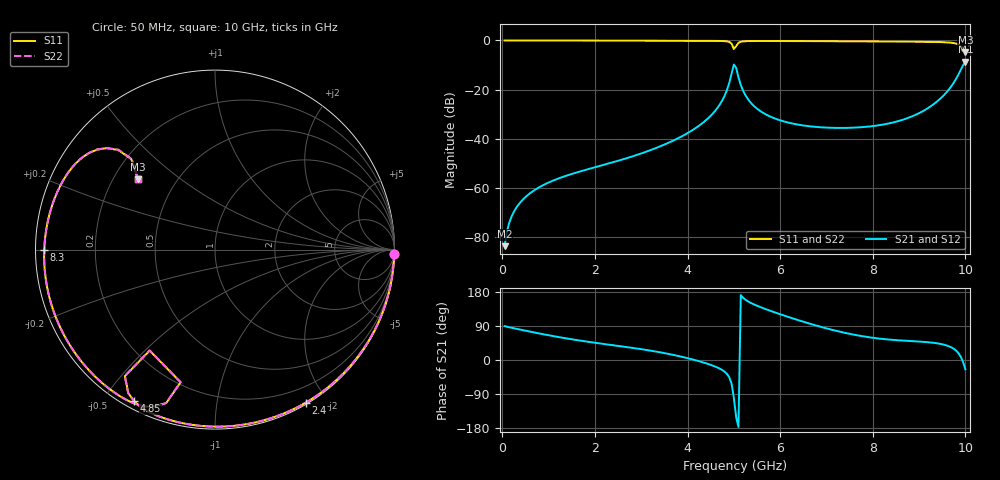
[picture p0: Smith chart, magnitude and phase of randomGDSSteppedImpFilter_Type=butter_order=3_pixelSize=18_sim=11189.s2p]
! freq	dB(S11)	phase(S11)	dB(S12)	phase(S12)
!  dB(S21)	phase(S21)	dB(S22)	phase(S22)
!S-par simulation data
#  GHz  S  DB  R 50
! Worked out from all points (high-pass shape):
!   200 points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, 50 MHz to 10 GHz, reference 50 ohm
!   highest |S21| = -8.59 dB at 10 GHz (marker M1); lowest = -83.6 dB at 50 MHz (marker M2)
!   |S21| within 3 dB of the highest: 4.976 GHz to 5.056 GHz (79.38 MHz wide, 1.58 % of centre); 9.91 GHz to end of sweep
!   lowest |S11| = -4.7 dB at 10 GHz (marker M3), VSWR 3.78, Z = 15 + j17.8 ohm
!   |S11| at or under -10 dB: nowhere
!   |S22| runs from -4.7 to 0.0 dB; largest |S21 - S12| = 0
!   S11 on the Smith chart (normalised r, x): 50 MHz: 4, -87; 2.4 GHz: 0.02, -1.76; 4.85 GHz: 0.03, -0.60; 8.3 GHz: 0.02, -0.00; 10 GHz: 0.30, +0.36
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0.05  -0.01 -1.3  -83.64 89.4  -83.64 89.4  -0.01 -1.3
0.25  -0.02 -6.4  -69.66 83.7  -69.66 83.7  -0.02 -6.4
0.55  -0.02 -14.0  -62.86 76.1  -62.86 76.1  -0.02 -14.0
1.75  -0.06 -43.8  -52.89 49.9  -52.89 49.9  -0.06 -43.9
2.4  -0.08 -59.3  -49.48 38.9  -49.48 38.9  -0.08 -59.4
3.4  -0.11 -82.2  -43.13 20.5  -43.13 20.5  -0.11 -82.2
4.35  -0.15 -103.4  -33.20 -6.8  -33.20 -6.8  -0.15 -103.4
4.65  -0.19 -110.8  -27.33 -20.1  -27.33 -20.1  -0.19 -110.9
4.85  -0.37 -118.0  -20.24 -36.5  -20.24 -36.5  -0.37 -118.1
4.95  -1.26 -125.5  -13.59 -61.8  -13.59 -61.8  -1.26 -125.5
5  -3.47 -122.9  -9.80 -99.7  -9.80 -99.7  -3.48 -123.0
5.05  -2.34 -104.5  -11.14 -151.0  -11.14 -151.0  -2.35 -104.6
5.1  -0.94 -107.6  -15.03 -176.8  -15.03 -176.8  -0.94 -107.7
5.2  -0.39 -113.9  -20.44 164.1  -20.44 164.1  -0.39 -113.9
5.5  -0.24 -122.9  -27.74 143.2  -27.74 143.2  -0.24 -123.0
5.95  -0.24 -132.8  -32.18 122.9  -32.18 122.9  -0.24 -132.8
6.7  -0.28 -147.8  -35.03 93.6  -35.03 93.6  -0.28 -147.9
8.3  -0.43 -180.0  -33.93 54.5  -33.93 54.5  -0.43 179.9
8.35  -0.44 179.0  -33.74 53.9  -33.74 53.9  -0.44 178.9
9.35  -0.63 156.0  -25.40 44.7  -25.40 44.7  -0.63 155.8
9.85  -1.62 137.1  -13.85 18.1  -13.85 18.1  -1.62 136.9
10  -4.70 137.6  -8.59 -24.8  -8.59 -24.8  -4.72 137.4
